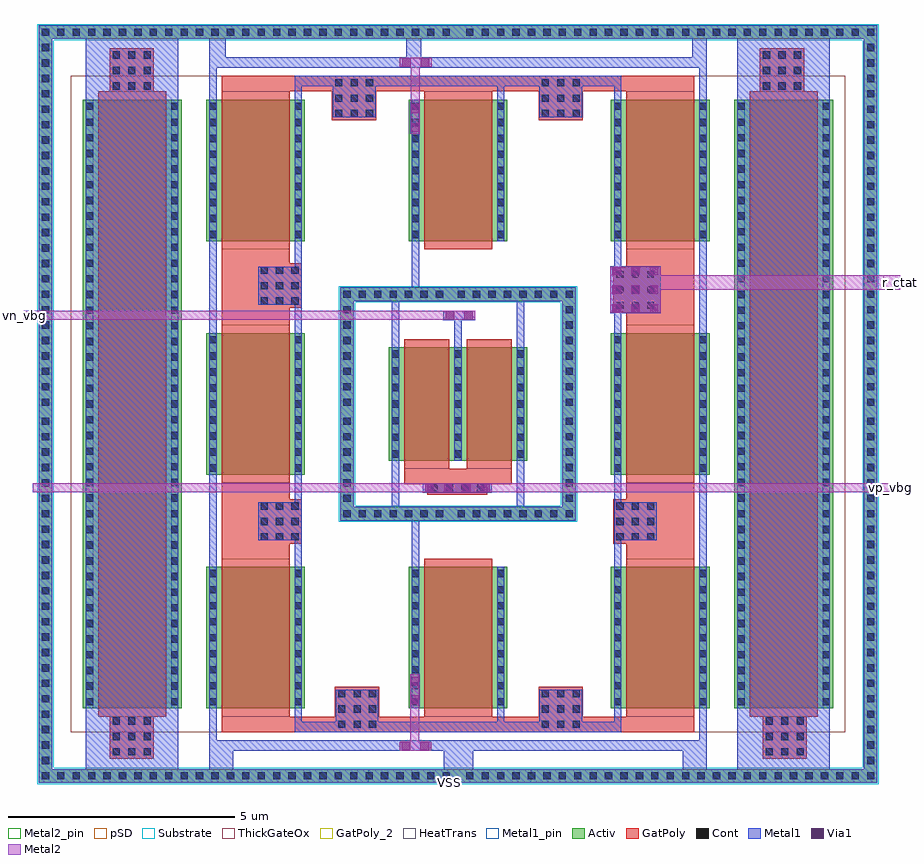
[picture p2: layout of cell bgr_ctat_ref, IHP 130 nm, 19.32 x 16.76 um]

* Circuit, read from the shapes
.subckt bgr_ctat_ref VSS r_ctat vn_vbg vp_vbg
XM1 VSS VSS VSS VSS sg13_hv_nmos w=13.43u l=1.5u m=2
XM2 r_ctat r_ctat VSS VSS sg13_hv_nmos w=3.125u l=1.5u m=8
XM3 vn_vbg vp_vbg VSS VSS sg13_hv_nmos w=2.5u l=1u m=2
.ends

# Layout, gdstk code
import gdstk
lib = gdstk.Library(unit=1e-6, precision=1e-09)
def R(c, l, rs):  # rectangles x0, y0, x1, y1
    for r in rs: c.add(gdstk.rectangle(r[:2], r[2:], *l))
def A(c, l, x, y, w, h, nx, ny, dx, dy):  # array of equal rectangles
    R(c, l, [(x+i*dx, y+j*dy, x+i*dx+w, y+j*dy+h) for i in range(nx) for j in range(ny)])
def P(c, l, *ps):  # polygons
    for p in ps: c.add(gdstk.Polygon(p, *l))
Activ = (1, 0)
GatPoly = (5, 0)
GatPoly_2 = (5, 2)
Cont = (6, 0)
Metal1 = (8, 0)
Metal1_pin = (8, 2)
Metal2 = (10, 0)
Metal2_pin = (10, 2)
pSD = (14, 0)
Via1 = (19, 0)
Substrate = (40, 0)
ThickGateOx = (44, 0)
HeatTrans = (51, 0)

nmoshv = lib.new_cell('nmosHV')
A(nmoshv, Activ, 0, 0, 0.3, 0.3, 3, 1, 1.38, 0)
R(nmoshv, Activ, [(-1.07,-1.02,-0.77,3.52), (3.83,-1.02,4.13,3.52), (0,0,3.06,2.5), (-1.07,3.52,4.13,3.82)])
P(nmoshv, Activ, [(-1.07,-1.32),(-1.07,3.52),(-0.77,3.52),(-0.77,-1.02),(3.83,-1.02),(3.83,3.52),(-1.07,3.52),(-1.07,3.82),(4.13,3.82),(4.13,-1.32)])
R(nmoshv, GatPoly, [(0.34,-0.18,1.34,2.68), (1.72,-0.18,2.72,2.68)])
R(nmoshv, GatPoly_2, [(0.34,-0.18,1.34,2.68)])
A(nmoshv, Cont, -1, -1.25, 0.16, 0.16, 7, 2, 0.34, 4.84)
A(nmoshv, Cont, 1.52, -1.25, 0.16, 0.16, 8, 2, 0.34, 4.84)
A(nmoshv, Cont, -1, -0.91, 0.16, 0.16, 1, 6, 0, 0.34)
A(nmoshv, Cont, 3.9, -0.91, 0.16, 0.16, 1, 6, 0, 0.34)
A(nmoshv, Cont, 0.07, 0.07, 0.16, 0.16, 3, 3, 1.38, 0.365)
A(nmoshv, Cont, 0.07, 1.17, 0.16, 0.16, 3, 3, 1.38, 0.365)
A(nmoshv, Cont, -1, 1.21, 0.16, 0.16, 1, 7, 0, 0.34)
A(nmoshv, Cont, 3.9, 1.21, 0.16, 0.16, 1, 7, 0, 0.34)
A(nmoshv, Cont, 0.07, 2.27, 0.16, 0.16, 3, 1, 1.38, 0)
A(nmoshv, Metal1, 0.07, 0, 0.16, 2.5, 3, 1, 1.38, 0)
R(nmoshv, Metal1, [(-1.07,-1.32,4.13,-1.02), (-1.07,-1.02,-0.77,3.52), (3.83,-1.02,4.13,3.52), (-1.07,3.52,4.13,3.82)])
R(nmoshv, Metal1_pin, [(0.07,0,0.23,2.5), (1.45,0,1.61,2.5)])
R(nmoshv, pSD, [(-1.1,-0.99,-0.74,3.49), (3.8,-0.99,4.16,3.49), (-1.1,3.49,4.16,3.85)])
P(nmoshv, pSD, [(-1.1,-1.35),(-1.1,3.49),(-0.74,3.49),(-0.74,-0.99),(3.8,-0.99),(3.8,3.49),(-1.1,3.49),(-1.1,3.85),(4.16,3.85),(4.16,-1.35)])
R(nmoshv, Substrate, [(-1.1,-0.99,-0.74,3.49), (3.8,-0.99,4.16,3.49), (-1.1,3.49,4.16,3.85)])
P(nmoshv, Substrate, [(-1.1,-1.35),(-1.1,3.49),(-0.74,3.49),(-0.74,-0.99),(3.8,-0.99),(3.8,3.49),(-1.1,3.49),(-1.1,3.85),(4.16,3.85),(4.16,-1.35)])
R(nmoshv, ThickGateOx, [(-0.27,-0.52,3.33,3.02)])
R(nmoshv, HeatTrans, [(0.34,-0.18,1.34,2.68), (1.72,-0.18,2.72,2.68)])
nmoshv.add(gdstk.Label('nmosHV', (0.84,1.25), layer=63, texttype=0))
nmoshv.add(gdstk.Label('sub!', (1.53,-1.17), layer=63, texttype=0))
nmoshv.add(gdstk.Label('nmosHV', (0.84,1.25), layer=51, texttype=0))
nmoshv.add(gdstk.Label('nmosHV', (2.22,1.25), layer=51, texttype=0))

nmoshv_1 = lib.new_cell('nmosHV$1')
R(nmoshv_1, Activ, [(0,0,0.3,0.3), (0,0,2.18,3.125), (1.88,0,2.18,0.3)])
R(nmoshv_1, GatPoly, [(0.34,-0.18,1.84,3.305)])
R(nmoshv_1, GatPoly_2, [(0.34,-0.18,1.84,3.305)])
A(nmoshv_1, Cont, 0.07, 1.125, 0.16, 0.16, 1, 3, 0, 0.355)
A(nmoshv_1, Cont, 1.95, 1.125, 0.16, 0.16, 1, 3, 0, 0.355)
A(nmoshv_1, Cont, 0.07, 2.185, 0.16, 0.16, 1, 3, 0, 0.355)
A(nmoshv_1, Cont, 1.95, 2.185, 0.16, 0.16, 1, 3, 0, 0.355)
R(nmoshv_1, Cont, [(0.07,0.07,0.23,0.23), (1.95,0.07,2.11,0.23), (0.07,0.42,0.23,0.58), (1.95,0.42,2.11,0.58), (0.07,0.775,0.23,0.935), (1.95,0.775,2.11,0.935)])
R(nmoshv_1, Metal1, [(0.07,0,0.23,3.125), (1.95,0,2.11,3.125)])
R(nmoshv_1, Metal1_pin, [(0.07,0,0.23,3.125), (1.95,0,2.11,3.125)])
R(nmoshv_1, ThickGateOx, [(-0.27,-0.52,2.45,3.645)])
R(nmoshv_1, HeatTrans, [(0.34,-0.18,1.84,3.305)])
nmoshv_1.add(gdstk.Label('nmosHV', (1.09,1.563), layer=63, texttype=0))
nmoshv_1.add(gdstk.Label('nmosHV', (1.09,1.563), layer=51, texttype=0))

nmoshv_2 = lib.new_cell('nmosHV$2')
R(nmoshv_2, Activ, [(0,0,0.3,0.3), (0,0,2.18,13.43), (1.88,0,2.18,0.3)])
R(nmoshv_2, GatPoly, [(0.34,-0.18,1.84,13.61)])
R(nmoshv_2, GatPoly_2, [(0.34,-0.18,1.84,13.61)])
A(nmoshv_2, Cont, 0.07, 0.07, 0.16, 0.16, 1, 10, 0, 0.345)
A(nmoshv_2, Cont, 1.95, 0.07, 0.16, 0.16, 1, 10, 0, 0.345)
A(nmoshv_2, Cont, 0.07, 3.525, 0.16, 0.16, 1, 9, 0, 0.345)
A(nmoshv_2, Cont, 1.95, 3.525, 0.16, 0.16, 1, 9, 0, 0.345)
A(nmoshv_2, Cont, 0.07, 6.635, 0.16, 0.16, 1, 10, 0, 0.345)
A(nmoshv_2, Cont, 1.95, 6.635, 0.16, 0.16, 1, 10, 0, 0.345)
A(nmoshv_2, Cont, 0.07, 10.09, 0.16, 0.16, 1, 9, 0, 0.345)
A(nmoshv_2, Cont, 1.95, 10.09, 0.16, 0.16, 1, 9, 0, 0.345)
R(nmoshv_2, Cont, [(0.07,13.2,0.23,13.36), (1.95,13.2,2.11,13.36)])
R(nmoshv_2, Metal1, [(0.07,0,0.23,13.43), (1.95,0,2.11,13.43)])
R(nmoshv_2, Metal1_pin, [(0.07,0,0.23,13.43), (1.95,0,2.11,13.43)])
R(nmoshv_2, ThickGateOx, [(-0.27,-0.52,2.45,13.95)])
R(nmoshv_2, HeatTrans, [(0.34,-0.18,1.84,13.61)])
nmoshv_2.add(gdstk.Label('nmosHV', (1.09,6.715), layer=63, texttype=0))
nmoshv_2.add(gdstk.Label('nmosHV', (1.09,6.715), layer=51, texttype=0))

guard_ring = lib.new_cell('guard_ring')
R(guard_ring, Activ, [(-9.25,-8.05,-8.95,8.05), (8.95,-8.05,9.25,8.05), (-9.25,8.05,9.25,8.35)])
P(guard_ring, Activ, [(-9.25,-8.35),(-9.25,8.05),(-8.95,8.05),(-8.95,-8.05),(8.95,-8.05),(8.95,8.05),(-9.25,8.05),(-9.25,8.35),(9.25,8.35),(9.25,-8.35)])
A(guard_ring, Cont, -9.18, -8.28, 0.16, 0.16, 27, 2, 0.34, 16.4)
A(guard_ring, Cont, 0.18, -8.28, 0.16, 0.16, 27, 2, 0.34, 16.4)
A(guard_ring, Cont, -9.18, -7.94, 0.16, 0.16, 1, 23, 0, 0.34)
A(guard_ring, Cont, 9.02, -7.94, 0.16, 0.16, 1, 23, 0, 0.34)
A(guard_ring, Cont, -9.18, -0.04, 0.16, 0.16, 1, 24, 0, 0.34)
A(guard_ring, Cont, 9.02, -0.04, 0.16, 0.16, 1, 24, 0, 0.34)
R(guard_ring, Metal1, [(-9.25,-8.35,9.25,-8.05), (-9.25,-8.05,-8.95,8.05), (8.95,-8.05,9.25,8.05), (-9.25,8.05,9.25,8.35)])
R(guard_ring, pSD, [(-9.28,-8.02,-8.92,8.02), (8.92,-8.02,9.28,8.02), (-9.28,8.02,9.28,8.38)])
P(guard_ring, pSD, [(-9.28,-8.38),(-9.28,8.02),(-8.92,8.02),(-8.92,-8.02),(8.92,-8.02),(8.92,8.02),(-9.28,8.02),(-9.28,8.38),(9.28,8.38),(9.28,-8.38)])
R(guard_ring, Substrate, [(-9.28,-8.02,-8.92,8.02), (8.92,-8.02,9.28,8.02), (-9.28,8.02,9.28,8.38)])
P(guard_ring, Substrate, [(-9.28,-8.38),(-9.28,8.02),(-8.92,8.02),(-8.92,-8.02),(8.92,-8.02),(8.92,8.02),(-9.28,8.02),(-9.28,8.38),(9.28,8.38),(9.28,-8.38)])
guard_ring.add(gdstk.Label('sub!', (0,-8.2), layer=63, texttype=0))

via_stack_37 = lib.new_cell('via_stack$37')
R(via_stack_37, Metal1, [(-0.105,-0.35,0.105,0.35)])
R(via_stack_37, Metal2, [(-0.1,-0.35,0.1,0.35)])
R(via_stack_37, Via1, [(-0.095,-0.3,0.095,-0.11), (-0.095,0.11,0.095,0.3)])

via_stack_40 = lib.new_cell('via_stack$40')
R(via_stack_40, Metal1, [(-0.35,-0.105,0.35,0.105)])
R(via_stack_40, Metal2, [(-0.35,-0.1,0.35,0.1)])
R(via_stack_40, Via1, [(-0.3,-0.095,-0.11,0.095), (0.11,-0.095,0.3,0.095)])

via_stack_41 = lib.new_cell('via_stack$41')
R(via_stack_41, GatPoly, [(-0.49,-0.49,0.49,0.49)])
A(via_stack_41, Cont, -0.42, -0.42, 0.16, 0.16, 3, 3, 0.34, 0.34)
R(via_stack_41, Metal1, [(-0.555,-0.515,0.555,0.515)])
R(via_stack_41, Metal2, [(-0.555,-0.51,0.555,0.51)])
A(via_stack_41, Via1, -0.505, -0.505, 0.19, 0.19, 3, 3, 0.41, 0.41)

via_stack_42 = lib.new_cell('via_stack$42')
R(via_stack_42, GatPoly, [(-0.49,-0.49,0.49,0.49)])
A(via_stack_42, Cont, -0.42, -0.42, 0.16, 0.16, 3, 3, 0.34, 0.34)
R(via_stack_42, Metal1, [(-0.47,-0.42,0.47,0.42)])

via_stack_43 = lib.new_cell('via_stack$43')
R(via_stack_43, GatPoly, [(-0.66,-0.15,0.66,0.15)])
A(via_stack_43, Cont, -0.59, -0.08, 0.16, 0.16, 4, 1, 0.34, 0)
R(via_stack_43, Metal1, [(-0.76,-0.105,0.76,0.105)])
R(via_stack_43, Metal2, [(-0.76,-0.1,0.76,0.1)])
A(via_stack_43, Via1, -0.71, -0.095, 0.19, 0.19, 4, 1, 0.41, 0)

bgr_ctat_ref = lib.new_cell('bgr_ctat_ref')
R(bgr_ctat_ref, GatPoly, [(4.365,1.145,14.785,1.485), (4.365,4.97,5.86,6.64), (13.285,4.97,14.785,6.64), (8.385,6.61,10.765,6.95), (4.36,10.125,5.86,11.79), (13.285,10.125,14.785,11.79), (4.36,15.275,14.785,15.615)])
R(bgr_ctat_ref, Metal1, [(1.37,0.195,3.41,16.58), (15.735,0.195,17.775,16.58), (4.09,0.33,4.615,0.735), (9.26,0.33,9.91,0.735), (14.535,0.33,15.055,0.735), (4.09,0.735,15.055,0.96), (4.09,0.735,4.25,1.665), (14.895,0.735,15.055,1.665), (5.97,1.145,13.175,1.37), (5.97,1.145,6.13,1.665), (13.015,1.145,13.175,1.665), (10.435,1.37,10.595,1.665), (4.09,4.79,4.255,11.97), (5.97,4.79,6.13,11.97), (8.555,4.79,8.715,6.11), (13.015,4.79,13.175,11.97), (14.895,4.79,15.055,11.97), (8.115,6.11,8.275,7.13), (10.875,6.11,11.035,7.13), (8.115,9.63,8.275,10.65), (9.495,9.63,9.655,10.235), (10.875,9.63,11.035,10.65), (8.555,10.65,8.715,11.97), (4.09,15.095,4.25,16.025), (5.97,15.095,6.13,15.615), (10.435,15.095,10.595,15.39), (13.015,15.095,13.175,15.615), (14.895,15.095,15.055,16.025), (5.97,15.39,13.175,15.615), (4.09,15.8,15.055,16.025), (8.435,16.01,8.765,16.43), (4.09,16.025,4.45,16.43), (14.735,16.025,15.055,16.43)])
R(bgr_ctat_ref, Metal1_pin, [(7.6,0.03,11.19,0.33)])
R(bgr_ctat_ref, Metal2, [(8.525,0.735,8.725,1.715), (0.2,6.43,9,6.63), (10.31,6.43,19.11,6.63), (0,10.235,9.25,10.435), (13.8,10.9,19.325,11.215), (8.53,15.035,8.73,16.015)])
R(bgr_ctat_ref, Metal2_pin, [(18.9,6.43,19.11,6.63), (0,10.235,0.22,10.435), (18.955,10.9,19.325,11.215)])
R(bgr_ctat_ref, ThickGateOx, [(1.03,1.145,18.115,15.615)])
bgr_ctat_ref.add(gdstk.Reference(nmoshv, (8.045,7.13)))
bgr_ctat_ref.add(gdstk.Reference(nmoshv_1, (8.485,1.665)))
bgr_ctat_ref.add(gdstk.Reference(nmoshv_1, (12.945,6.82)))
bgr_ctat_ref.add(gdstk.Reference(nmoshv_1, (12.945,11.97)))
bgr_ctat_ref.add(gdstk.Reference(nmoshv_1, (8.485,11.97)))
bgr_ctat_ref.add(gdstk.Reference(nmoshv_1, (4.02,11.97)))
bgr_ctat_ref.add(gdstk.Reference(nmoshv_1, (4.02,1.665)))
bgr_ctat_ref.add(gdstk.Reference(nmoshv_1, (12.945,1.665)))
bgr_ctat_ref.add(gdstk.Reference(nmoshv_2, (1.3,1.665)))
bgr_ctat_ref.add(gdstk.Reference(nmoshv_2, (15.665,1.665)))
bgr_ctat_ref.add(gdstk.Reference(guard_ring, (9.575,8.38)))
bgr_ctat_ref.add(gdstk.Reference(via_stack_37, (8.625,2.065)))
bgr_ctat_ref.add(gdstk.Reference(via_stack_40, (8.635,0.835)))
bgr_ctat_ref.add(gdstk.Reference(via_stack_37, (8.63,14.685), x_reflection=True))
bgr_ctat_ref.add(gdstk.Reference(via_stack_40, (8.64,15.915), x_reflection=True))
bgr_ctat_ref.add(gdstk.Reference(via_stack_40, (9.6,10.335)))
bgr_ctat_ref.add(gdstk.Reference(via_stack_41, (13.485,10.9)))
bgr_ctat_ref.add(gdstk.Reference(via_stack_42, (13.485,5.79)))
bgr_ctat_ref.add(gdstk.Reference(via_stack_42, (5.64,5.79)))
bgr_ctat_ref.add(gdstk.Reference(via_stack_42, (5.64,10.99)))
bgr_ctat_ref.add(gdstk.Reference(via_stack_42, (7.35,1.655)))
bgr_ctat_ref.add(gdstk.Reference(via_stack_42, (11.84,1.655)))
bgr_ctat_ref.add(gdstk.Reference(via_stack_42, (11.84,15.125)))
bgr_ctat_ref.add(gdstk.Reference(via_stack_42, (7.285,15.125)))
bgr_ctat_ref.add(gdstk.Reference(nmoshv_1, (4.02,6.82)))
bgr_ctat_ref.add(gdstk.Reference(via_stack_43, (9.56,6.53)))
bgr_ctat_ref.add(gdstk.Reference(via_stack_42, (2.38,1.05)))
bgr_ctat_ref.add(gdstk.Reference(via_stack_42, (16.78,1.05)))
bgr_ctat_ref.add(gdstk.Reference(via_stack_42, (2.38,15.735)))
bgr_ctat_ref.add(gdstk.Reference(via_stack_42, (16.72,15.735)))
bgr_ctat_ref.add(gdstk.Label('VSS', (9.395,0.03), layer=8, texttype=2))
bgr_ctat_ref.add(gdstk.Label('vn_vbg', (0,10.335), layer=10, texttype=2))
bgr_ctat_ref.add(gdstk.Label('r_ctat', (19.325,11.058), layer=10, texttype=2))
bgr_ctat_ref.add(gdstk.Label('vp_vbg', (19.11,6.53), layer=10, texttype=2))

lib.write_gds('bgr_ctat_ref.gds')
